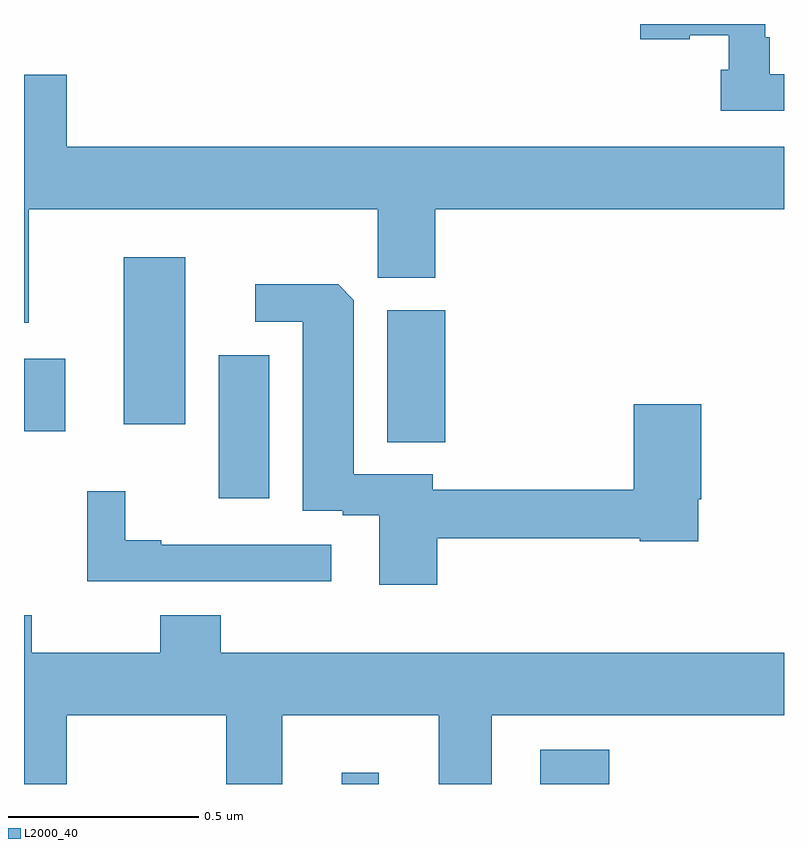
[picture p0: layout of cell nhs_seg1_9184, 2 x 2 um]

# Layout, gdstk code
import gdstk
lib = gdstk.Library(unit=1e-6, precision=1e-09)
def R(c, l, rs):  # rectangles x0, y0, x1, y1
    for r in rs: c.add(gdstk.rectangle(r[:2], r[2:], *l))
def P(c, l, *ps):  # polygons
    for p in ps: c.add(gdstk.Polygon(p, *l))
L2000_40 = (2000, 40)

nhs_seg1_9184 = lib.new_cell('nhs_seg1_9184')
R(nhs_seg1_9184, L2000_40, [(225.836,570.199,225.934,570.229), (226.358,570.199,226.54,570.289), (225.512,570.951,225.646,571.327), (225.956,571.099,226.109,571.446), (225,571.127,225.109,571.318), (225.263,571.146,225.424,571.585)])
P(nhs_seg1_9184, L2000_40, [(227,572.067),(226.962,572.067),(226.962,572.164),(226.95,572.164),(226.95,572.199),(226.622,572.199),(226.622,572.159),(226.752,572.159),(226.752,572.17),(226.854,572.17),(226.854,572.078),(226.834,572.078),(226.834,571.971),(227,571.971)],
  [(225.013,571.712),(225.931,571.712),(225.931,571.531),(226.082,571.531),(226.082,571.712),(227,571.712),(227,571.876),(225.112,571.876),(225.112,572.065),(225,572.065),(225,571.413),(225.013,571.413)],
  [(226.088,570.846),(226.62,570.846),(226.62,570.838),(226.774,570.838),(226.774,570.949),(226.782,570.949),(226.782,571.198),(226.604,571.198),(226.604,570.974),(226.075,570.974),(226.075,571.014),(225.868,571.014),(225.868,571.472),(225.827,571.514),(225.609,571.514),(225.609,571.416),(225.734,571.416),(225.734,570.918),(225.839,570.918),(225.839,570.906),(225.935,570.906),(225.935,570.723),(226.088,570.723)],
  [(225.808,570.828),(225.361,570.828),(225.361,570.841),(225.267,570.841),(225.267,570.97),(225.167,570.97),(225.167,570.732),(225.808,570.732)],
  [(225.112,570.38),(225.532,570.38),(225.532,570.199),(225.679,570.199),(225.679,570.38),(226.091,570.38),(226.091,570.199),(226.231,570.199),(226.231,570.38),(227,570.38),(227,570.544),(225.518,570.544),(225.518,570.643),(225.358,570.643),(225.358,570.544),(225.021,570.544),(225.021,570.643),(225,570.643),(225,570.199),(225.112,570.199)])

lib.write_gds('nhs_seg1_9184.gds')
